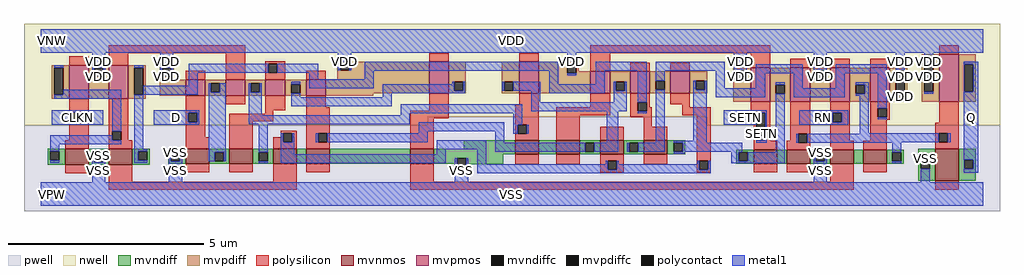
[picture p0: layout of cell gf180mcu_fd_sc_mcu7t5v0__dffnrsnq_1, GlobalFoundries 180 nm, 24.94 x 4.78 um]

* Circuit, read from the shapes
.subckt gf180mcu_fd_sc_mcu7t5v0__dffnrsnq_1 D RN SETN CLKN Q VDD VNW VPW VSS
XM1 VSS CLKN n1 VPW nfet_06v0 w=0.405u l=0.6u
XM2 n2 n1 VSS VPW nfet_06v0 w=0.405u l=0.6u
XM3 n3 D VSS VPW nfet_06v0 w=0.38u l=0.6u
XM4 n4 n2 n3 VPW nfet_06v0 w=0.38u l=0.6u
XM5 n5 n1 n4 VPW nfet_06v0 w=0.38u l=0.6u
XM6 n6 n7 n5 VPW nfet_06v0 w=0.38u l=0.6u
XM7 VSS RN n6 VPW nfet_06v0 w=0.38u l=0.6u
XM8 n8 n4 VSS VPW nfet_06v0 w=0.36u l=0.6u
XM9 n7 SETN n8 VPW nfet_06v0 w=0.36u l=0.6u
XM10 n9 n1 n7 VPW nfet_06v0 w=0.36u l=0.6u
XM11 n10 n2 n9 VPW nfet_06v0 w=0.36u l=0.6u
XM12 n11 SETN n10 VPW nfet_06v0 w=0.36u l=0.6u
XM13 VSS n12 n11 VPW nfet_06v0 w=0.36u l=0.6u
XM14 n13 RN VSS VPW nfet_06v0 w=0.36u l=0.6u
XM15 n12 n9 n13 VPW nfet_06v0 w=0.36u l=0.6u
XM16 Q n12 VSS VPW nfet_06v0 w=0.815u l=0.6u
XM17 VDD CLKN n1 VNW pfet_06v0 w=0.865u l=0.5u
XM18 n2 n1 VDD VNW pfet_06v0 w=0.865u l=0.5u
XM19 n3 D VDD VNW pfet_06v0 w=0.41u l=0.5u
XM20 n4 n1 n3 VNW pfet_06v0 w=0.41u l=0.5u
XM21 n14 n2 n4 VNW pfet_06v0 w=0.41u l=0.5u
XM22 VDD n7 n14 VNW pfet_06v0 w=0.41u l=0.5u
XM23 n14 RN VDD VNW pfet_06v0 w=0.805u l=0.5u
XM24 VDD n4 n7 VNW pfet_06v0 w=0.805u l=0.5u
XM25 n7 SETN VDD VNW pfet_06v0 w=0.56u l=0.5u
XM26 n9 n2 n7 VNW pfet_06v0 w=0.56u l=0.5u
XM27 n10 n1 n9 VNW pfet_06v0 w=0.56u l=0.5u
XM28 n10 SETN VDD VNW pfet_06v0 w=0.875u l=0.5u
XM29 VDD n12 n10 VNW pfet_06v0 w=0.875u l=0.5u
XM30 n12 RN VDD VNW pfet_06v0 w=0.875u l=0.5u
XM31 VDD n9 n12 VNW pfet_06v0 w=0.875u l=0.5u
XM32 Q n12 VDD VNW pfet_06v0 w=1.22u l=0.5u
.ends

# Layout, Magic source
magic
tech gf180mcuD
magscale 1 10
<< nwell >>
rect -86 396 4902 870
rect -86 352 1977 396
rect 3404 352 4902 396
<< pwell >>
rect 1977 352 3404 396
rect -86 -86 4902 352
<< mvnmos >>
rect 124 151 244 232
rect 348 151 468 232
rect 740 156 860 232
rect 964 156 1084 232
rect 1188 156 1308 232
rect 1356 156 1476 232
rect 1888 156 2008 232
rect 2424 204 2544 276
rect 2634 204 2754 276
rect 2858 204 2978 276
rect 3082 204 3202 276
rect 3643 156 3763 228
rect 3811 156 3931 228
rect 4035 156 4155 228
rect 4203 156 4323 228
rect 4571 69 4691 232
<< mvpmos >>
rect 144 487 244 660
rect 348 487 448 660
rect 740 504 840 586
rect 944 504 1044 586
rect 1148 504 1248 586
rect 1356 504 1456 586
rect 1984 516 2084 677
rect 2444 516 2544 677
rect 2809 516 2909 628
rect 3013 516 3113 628
rect 3217 516 3317 628
rect 3627 472 3727 647
rect 3831 472 3931 647
rect 4035 472 4135 647
rect 4239 472 4339 647
rect 4591 472 4691 716
<< mvndiff >>
rect 2161 232 2424 276
rect 36 219 124 232
rect 36 173 49 219
rect 95 173 124 219
rect 36 151 124 173
rect 244 210 348 232
rect 244 164 273 210
rect 319 164 348 210
rect 244 151 348 164
rect 468 219 556 232
rect 468 173 497 219
rect 543 173 556 219
rect 468 151 556 173
rect 652 215 740 232
rect 652 169 665 215
rect 711 169 740 215
rect 652 156 740 169
rect 860 215 964 232
rect 860 169 889 215
rect 935 169 964 215
rect 860 156 964 169
rect 1084 215 1188 232
rect 1084 169 1113 215
rect 1159 169 1188 215
rect 1084 156 1188 169
rect 1308 156 1356 232
rect 1476 156 1888 232
rect 2008 204 2424 232
rect 2544 204 2634 276
rect 2754 263 2858 276
rect 2754 217 2783 263
rect 2829 217 2858 263
rect 2754 204 2858 217
rect 2978 263 3082 276
rect 2978 217 3007 263
rect 3053 217 3082 263
rect 2978 204 3082 217
rect 3202 263 3293 276
rect 3202 217 3234 263
rect 3280 217 3293 263
rect 3202 204 3293 217
rect 2008 183 2364 204
rect 2008 156 2127 183
rect 2114 137 2127 156
rect 2173 152 2364 183
rect 2173 137 2186 152
rect 2114 124 2186 137
rect 3555 215 3643 228
rect 3555 169 3568 215
rect 3614 169 3643 215
rect 3555 156 3643 169
rect 3763 156 3811 228
rect 3931 215 4035 228
rect 3931 169 3960 215
rect 4006 169 4035 215
rect 3931 156 4035 169
rect 4155 156 4203 228
rect 4323 215 4411 228
rect 4323 169 4352 215
rect 4398 169 4411 215
rect 4323 156 4411 169
rect 4483 175 4571 232
rect 4483 129 4496 175
rect 4542 129 4571 175
rect 4483 69 4571 129
rect 4691 175 4779 232
rect 4691 129 4720 175
rect 4766 129 4779 175
rect 4691 69 4779 129
<< mvpdiff >>
rect 56 647 144 660
rect 56 507 69 647
rect 115 507 144 647
rect 56 487 144 507
rect 244 647 348 660
rect 244 601 273 647
rect 319 601 348 647
rect 244 487 348 601
rect 448 647 536 660
rect 448 507 477 647
rect 523 507 536 647
rect 448 487 536 507
rect 608 646 680 659
rect 608 600 621 646
rect 667 600 680 646
rect 608 586 680 600
rect 1516 679 1588 692
rect 1516 633 1529 679
rect 1575 677 1588 679
rect 1575 633 1984 677
rect 1516 586 1984 633
rect 608 504 740 586
rect 840 566 944 586
rect 840 520 869 566
rect 915 520 944 566
rect 840 504 944 520
rect 1044 566 1148 586
rect 1044 520 1073 566
rect 1119 520 1148 566
rect 1044 504 1148 520
rect 1248 563 1356 586
rect 1248 517 1281 563
rect 1327 517 1356 563
rect 1248 504 1356 517
rect 1456 516 1984 586
rect 2084 575 2172 677
rect 2084 529 2113 575
rect 2159 529 2172 575
rect 2084 516 2172 529
rect 2356 575 2444 677
rect 2356 529 2369 575
rect 2415 529 2444 575
rect 2356 516 2444 529
rect 2544 664 2749 677
rect 2544 618 2690 664
rect 2736 628 2749 664
rect 4503 664 4591 716
rect 3539 634 3627 647
rect 2736 618 2809 628
rect 2544 516 2809 618
rect 2909 575 3013 628
rect 2909 529 2938 575
rect 2984 529 3013 575
rect 2909 516 3013 529
rect 3113 579 3217 628
rect 3113 533 3142 579
rect 3188 533 3217 579
rect 3113 516 3217 533
rect 3317 579 3405 628
rect 3317 533 3346 579
rect 3392 533 3405 579
rect 3317 516 3405 533
rect 3539 588 3552 634
rect 3598 588 3627 634
rect 1456 504 1700 516
rect 3539 472 3627 588
rect 3727 560 3831 647
rect 3727 514 3756 560
rect 3802 514 3831 560
rect 3727 472 3831 514
rect 3931 634 4035 647
rect 3931 588 3960 634
rect 4006 588 4035 634
rect 3931 472 4035 588
rect 4135 560 4239 647
rect 4135 514 4164 560
rect 4210 514 4239 560
rect 4135 472 4239 514
rect 4339 634 4427 647
rect 4339 494 4368 634
rect 4414 494 4427 634
rect 4339 472 4427 494
rect 4503 524 4516 664
rect 4562 524 4591 664
rect 4503 472 4591 524
rect 4691 664 4779 716
rect 4691 524 4720 664
rect 4766 524 4779 664
rect 4691 472 4779 524
<< mvndiffc >>
rect 49 173 95 219
rect 273 164 319 210
rect 497 173 543 219
rect 665 169 711 215
rect 889 169 935 215
rect 1113 169 1159 215
rect 2783 217 2829 263
rect 3007 217 3053 263
rect 3234 217 3280 263
rect 2127 137 2173 183
rect 3568 169 3614 215
rect 3960 169 4006 215
rect 4352 169 4398 215
rect 4496 129 4542 175
rect 4720 129 4766 175
<< mvpdiffc >>
rect 69 507 115 647
rect 273 601 319 647
rect 477 507 523 647
rect 621 600 667 646
rect 1529 633 1575 679
rect 869 520 915 566
rect 1073 520 1119 566
rect 1281 517 1327 563
rect 2113 529 2159 575
rect 2369 529 2415 575
rect 2690 618 2736 664
rect 2938 529 2984 575
rect 3142 533 3188 579
rect 3346 533 3392 579
rect 3552 588 3598 634
rect 3756 514 3802 560
rect 3960 588 4006 634
rect 4164 514 4210 560
rect 4368 494 4414 634
rect 4516 524 4562 664
rect 4720 524 4766 664
<< polysilicon >>
rect 348 720 1044 760
rect 144 660 244 704
rect 348 660 448 720
rect 740 586 840 630
rect 944 586 1044 720
rect 1148 667 1248 680
rect 1148 621 1161 667
rect 1207 621 1248 667
rect 1984 677 2084 721
rect 2444 677 2544 721
rect 2809 720 3727 760
rect 1148 586 1248 621
rect 1356 586 1456 630
rect 2809 628 2909 720
rect 3013 628 3113 672
rect 3217 628 3317 672
rect 3627 647 3727 720
rect 4591 716 4691 760
rect 3831 647 3931 691
rect 4035 647 4135 691
rect 4239 647 4339 691
rect 144 418 244 487
rect 144 372 157 418
rect 203 372 244 418
rect 144 276 244 372
rect 124 232 244 276
rect 348 323 448 487
rect 348 277 365 323
rect 411 277 448 323
rect 348 276 448 277
rect 740 415 840 504
rect 944 460 1044 504
rect 740 369 753 415
rect 799 369 840 415
rect 1148 428 1248 504
rect 1356 444 1456 504
rect 1148 412 1188 428
rect 740 292 840 369
rect 964 372 1188 412
rect 348 232 468 276
rect 740 232 860 292
rect 964 232 1084 372
rect 1225 311 1308 324
rect 1225 292 1238 311
rect 1188 265 1238 292
rect 1284 265 1308 311
rect 1188 232 1308 265
rect 1356 311 1476 444
rect 1984 427 2084 516
rect 2444 456 2544 516
rect 1356 265 1417 311
rect 1463 265 1476 311
rect 1356 232 1476 265
rect 1888 387 2084 427
rect 1888 232 2008 387
rect 2424 355 2544 456
rect 2809 444 2909 516
rect 2424 309 2437 355
rect 2483 309 2544 355
rect 2424 276 2544 309
rect 2634 404 2909 444
rect 3013 471 3113 516
rect 3013 425 3050 471
rect 3096 444 3113 471
rect 3217 460 3317 516
rect 3277 444 3317 460
rect 3096 425 3122 444
rect 2634 276 2754 404
rect 3013 392 3122 425
rect 3277 404 3425 444
rect 3627 418 3727 472
rect 3082 344 3122 392
rect 2858 276 2978 344
rect 3082 276 3202 344
rect 124 107 244 151
rect 348 64 468 151
rect 740 112 860 156
rect 964 112 1084 156
rect 1188 64 1308 156
rect 1356 112 1476 156
rect 348 24 1308 64
rect 1888 64 2008 156
rect 2424 152 2544 204
rect 2634 152 2754 204
rect 2858 171 2978 204
rect 2858 125 2897 171
rect 2943 125 2978 171
rect 3082 152 3202 204
rect 3353 171 3425 404
rect 3643 415 3727 418
rect 3643 275 3656 415
rect 3702 275 3727 415
rect 3643 272 3727 275
rect 3831 308 3931 472
rect 3831 272 3872 308
rect 3643 228 3763 272
rect 3811 262 3872 272
rect 3918 262 3931 308
rect 3811 228 3931 262
rect 4035 415 4135 472
rect 4035 369 4048 415
rect 4094 369 4135 415
rect 4035 272 4135 369
rect 4239 439 4339 472
rect 4239 393 4276 439
rect 4322 393 4339 439
rect 4239 380 4339 393
rect 4239 272 4323 380
rect 4591 365 4691 472
rect 4035 228 4155 272
rect 4203 228 4323 272
rect 4571 312 4691 365
rect 4571 266 4590 312
rect 4636 266 4691 312
rect 4571 232 4691 266
rect 2858 112 2978 125
rect 3353 125 3366 171
rect 3412 125 3425 171
rect 3353 112 3425 125
rect 3643 112 3763 156
rect 3811 112 3931 156
rect 4035 64 4155 156
rect 4203 112 4323 156
rect 1888 24 4155 64
rect 4571 24 4691 69
<< polycontact >>
rect 1161 621 1207 667
rect 157 372 203 418
rect 365 277 411 323
rect 753 369 799 415
rect 1238 265 1284 311
rect 1417 265 1463 311
rect 2437 309 2483 355
rect 3050 425 3096 471
rect 2897 125 2943 171
rect 3656 275 3702 415
rect 3872 262 3918 308
rect 4048 369 4094 415
rect 4276 393 4322 439
rect 4590 266 4636 312
rect 3366 125 3412 171
<< metal1 >>
rect 0 724 4816 844
rect 69 647 115 660
rect 262 647 330 724
rect 262 601 273 647
rect 319 601 330 647
rect 477 647 523 660
rect 115 507 411 534
rect 69 487 411 507
rect 56 418 318 430
rect 56 372 157 418
rect 203 372 318 418
rect 56 354 318 372
rect 365 323 411 487
rect 49 277 365 302
rect 49 256 411 277
rect 610 646 678 724
rect 1517 679 1586 724
rect 610 600 621 646
rect 667 600 678 646
rect 757 621 1161 667
rect 1207 621 1419 667
rect 1517 633 1529 679
rect 1575 633 1586 679
rect 757 554 803 621
rect 1373 587 1419 621
rect 1656 632 2644 678
rect 1656 587 1702 632
rect 523 508 803 554
rect 858 520 869 566
rect 915 520 946 566
rect 49 219 95 256
rect 477 230 523 507
rect 578 415 810 430
rect 578 369 753 415
rect 799 369 810 415
rect 578 354 810 369
rect 477 219 543 230
rect 49 162 95 173
rect 262 164 273 210
rect 319 164 330 210
rect 262 60 330 164
rect 477 173 497 219
rect 858 215 946 520
rect 1062 520 1073 566
rect 1119 520 1130 566
rect 1062 403 1130 520
rect 1281 563 1327 574
rect 1373 541 1702 587
rect 2102 563 2113 575
rect 1281 495 1327 517
rect 1748 529 2113 563
rect 2159 529 2170 575
rect 2358 529 2369 575
rect 2415 529 2552 575
rect 1748 517 2170 529
rect 1748 495 1794 517
rect 1281 449 1794 495
rect 2506 469 2552 529
rect 2598 561 2644 632
rect 2690 664 2736 724
rect 2690 607 2736 618
rect 2835 632 3096 678
rect 2835 561 2881 632
rect 2598 515 2881 561
rect 2927 529 2938 575
rect 2984 529 2995 575
rect 2927 469 2995 529
rect 1840 414 2460 460
rect 2506 425 2995 469
rect 3050 471 3096 632
rect 2506 423 2950 425
rect 1840 403 1886 414
rect 1062 357 1886 403
rect 477 162 543 173
rect 654 169 665 215
rect 711 169 722 215
rect 858 169 889 215
rect 935 169 946 215
rect 1113 215 1159 357
rect 1932 321 2368 367
rect 1932 311 1978 321
rect 654 60 722 169
rect 1113 158 1159 169
rect 1227 265 1238 311
rect 1284 265 1295 311
rect 1406 265 1417 311
rect 1463 265 1978 311
rect 1227 204 1295 265
rect 2024 229 2276 275
rect 2024 204 2070 229
rect 1227 158 2070 204
rect 2116 137 2127 183
rect 2173 137 2184 183
rect 2116 60 2184 137
rect 2230 152 2276 229
rect 2322 263 2368 321
rect 2414 355 2460 414
rect 2414 309 2437 355
rect 2483 309 2494 355
rect 2893 263 2950 423
rect 3050 414 3096 425
rect 3142 632 3495 678
rect 3142 579 3188 632
rect 3142 263 3188 533
rect 3335 533 3346 579
rect 3392 533 3403 579
rect 3335 274 3403 533
rect 3449 542 3495 632
rect 3541 634 3609 724
rect 3541 588 3552 634
rect 3598 588 3609 634
rect 3655 617 3894 664
rect 3655 542 3701 617
rect 3449 495 3701 542
rect 3756 560 3802 571
rect 3490 415 3710 430
rect 3490 354 3656 415
rect 2322 217 2783 263
rect 2829 217 2950 263
rect 2996 217 3007 263
rect 3053 217 3188 263
rect 3234 263 3403 274
rect 3702 275 3710 415
rect 3656 264 3710 275
rect 3280 217 3585 263
rect 3234 206 3291 217
rect 3528 215 3585 217
rect 3756 215 3802 514
rect 3848 542 3894 617
rect 3949 634 4017 724
rect 3949 588 3960 634
rect 4006 588 4017 634
rect 4063 617 4322 664
rect 4063 542 4109 617
rect 3848 496 4109 542
rect 4164 560 4230 571
rect 4210 514 4230 560
rect 4164 503 4230 514
rect 3876 415 4126 430
rect 3876 369 4048 415
rect 4094 369 4126 415
rect 3876 354 4126 369
rect 4184 312 4230 503
rect 4276 439 4322 617
rect 4368 634 4414 724
rect 4516 664 4562 724
rect 4516 513 4562 524
rect 4717 664 4792 676
rect 4717 524 4720 664
rect 4766 524 4792 664
rect 4368 483 4414 494
rect 4276 382 4322 393
rect 4184 308 4590 312
rect 3861 262 3872 308
rect 3918 266 4590 308
rect 4636 266 4650 312
rect 3918 262 4398 266
rect 4352 215 4398 262
rect 2886 152 2897 171
rect 2230 125 2897 152
rect 2943 152 2954 171
rect 3355 152 3366 171
rect 2943 125 3366 152
rect 3412 125 3423 171
rect 3528 169 3568 215
rect 3614 169 3802 215
rect 3528 158 3802 169
rect 3949 169 3960 215
rect 4006 169 4017 215
rect 2230 106 3423 125
rect 3949 60 4017 169
rect 4352 158 4398 169
rect 4496 175 4542 186
rect 4496 60 4542 129
rect 4717 175 4792 524
rect 4717 129 4720 175
rect 4766 129 4792 175
rect 4717 110 4792 129
rect 0 -60 4816 60
<< labels >>
flabel metal1 s 578 354 810 430 0 FreeSans 600 0 0 0 D
port 1 nsew default input
flabel metal1 s 0 724 4816 844 0 FreeSans 600 0 0 0 VDD
port 6 nsew power bidirectional abutment
flabel metal1 s 3949 210 4017 215 0 FreeSans 600 0 0 0 VSS
port 9 nsew ground bidirectional abutment
flabel metal1 s 56 354 318 430 0 FreeSans 600 0 0 0 CLKN
port 4 nsew clock input
flabel metal1 s 3490 354 3710 430 0 FreeSans 600 0 0 0 SETN
port 3 nsew default input
flabel metal1 s 3876 354 4126 430 0 FreeSans 600 0 0 0 RN
port 2 nsew default input
flabel metal1 s 4717 110 4792 676 0 FreeSans 600 0 0 0 Q
port 5 nsew default output
flabel nwell s 10 734 110 834 0 FreeSans 400 0 0 0 VNW
port 7 nsew power bidirectional
flabel pwell s 10 -50 110 50 0 FreeSans 400 0 0 0 VPW
port 8 nsew ground bidirectional
rlabel metal1 s 3656 264 3710 354 1 SETN
port 3 nsew default input
rlabel metal1 s 4516 633 4562 724 1 VDD
port 6 nsew power bidirectional abutment
rlabel metal1 s 4368 633 4414 724 1 VDD
port 6 nsew power bidirectional abutment
rlabel metal1 s 3949 633 4017 724 1 VDD
port 6 nsew power bidirectional abutment
rlabel metal1 s 3541 633 3609 724 1 VDD
port 6 nsew power bidirectional abutment
rlabel metal1 s 2690 633 2736 724 1 VDD
port 6 nsew power bidirectional abutment
rlabel metal1 s 1517 633 1586 724 1 VDD
port 6 nsew power bidirectional abutment
rlabel metal1 s 610 633 678 724 1 VDD
port 6 nsew power bidirectional abutment
rlabel metal1 s 262 633 330 724 1 VDD
port 6 nsew power bidirectional abutment
rlabel metal1 s 4516 607 4562 633 1 VDD
port 6 nsew power bidirectional abutment
rlabel metal1 s 4368 607 4414 633 1 VDD
port 6 nsew power bidirectional abutment
rlabel metal1 s 3949 607 4017 633 1 VDD
port 6 nsew power bidirectional abutment
rlabel metal1 s 3541 607 3609 633 1 VDD
port 6 nsew power bidirectional abutment
rlabel metal1 s 2690 607 2736 633 1 VDD
port 6 nsew power bidirectional abutment
rlabel metal1 s 610 607 678 633 1 VDD
port 6 nsew power bidirectional abutment
rlabel metal1 s 262 607 330 633 1 VDD
port 6 nsew power bidirectional abutment
rlabel metal1 s 4516 601 4562 607 1 VDD
port 6 nsew power bidirectional abutment
rlabel metal1 s 4368 601 4414 607 1 VDD
port 6 nsew power bidirectional abutment
rlabel metal1 s 3949 601 4017 607 1 VDD
port 6 nsew power bidirectional abutment
rlabel metal1 s 3541 601 3609 607 1 VDD
port 6 nsew power bidirectional abutment
rlabel metal1 s 610 601 678 607 1 VDD
port 6 nsew power bidirectional abutment
rlabel metal1 s 262 601 330 607 1 VDD
port 6 nsew power bidirectional abutment
rlabel metal1 s 4516 600 4562 601 1 VDD
port 6 nsew power bidirectional abutment
rlabel metal1 s 4368 600 4414 601 1 VDD
port 6 nsew power bidirectional abutment
rlabel metal1 s 3949 600 4017 601 1 VDD
port 6 nsew power bidirectional abutment
rlabel metal1 s 3541 600 3609 601 1 VDD
port 6 nsew power bidirectional abutment
rlabel metal1 s 610 600 678 601 1 VDD
port 6 nsew power bidirectional abutment
rlabel metal1 s 4516 588 4562 600 1 VDD
port 6 nsew power bidirectional abutment
rlabel metal1 s 4368 588 4414 600 1 VDD
port 6 nsew power bidirectional abutment
rlabel metal1 s 3949 588 4017 600 1 VDD
port 6 nsew power bidirectional abutment
rlabel metal1 s 3541 588 3609 600 1 VDD
port 6 nsew power bidirectional abutment
rlabel metal1 s 4516 513 4562 588 1 VDD
port 6 nsew power bidirectional abutment
rlabel metal1 s 4368 513 4414 588 1 VDD
port 6 nsew power bidirectional abutment
rlabel metal1 s 4368 483 4414 513 1 VDD
port 6 nsew power bidirectional abutment
rlabel metal1 s 654 210 722 215 1 VSS
port 9 nsew ground bidirectional abutment
rlabel metal1 s 3949 186 4017 210 1 VSS
port 9 nsew ground bidirectional abutment
rlabel metal1 s 654 186 722 210 1 VSS
port 9 nsew ground bidirectional abutment
rlabel metal1 s 262 186 330 210 1 VSS
port 9 nsew ground bidirectional abutment
rlabel metal1 s 4496 183 4542 186 1 VSS
port 9 nsew ground bidirectional abutment
rlabel metal1 s 3949 183 4017 186 1 VSS
port 9 nsew ground bidirectional abutment
rlabel metal1 s 654 183 722 186 1 VSS
port 9 nsew ground bidirectional abutment
rlabel metal1 s 262 183 330 186 1 VSS
port 9 nsew ground bidirectional abutment
rlabel metal1 s 4496 60 4542 183 1 VSS
port 9 nsew ground bidirectional abutment
rlabel metal1 s 3949 60 4017 183 1 VSS
port 9 nsew ground bidirectional abutment
rlabel metal1 s 2116 60 2184 183 1 VSS
port 9 nsew ground bidirectional abutment
rlabel metal1 s 654 60 722 183 1 VSS
port 9 nsew ground bidirectional abutment
rlabel metal1 s 262 60 330 183 1 VSS
port 9 nsew ground bidirectional abutment
rlabel metal1 s 0 -60 4816 60 1 VSS
port 9 nsew ground bidirectional abutment
<< properties >>
string FIXED_BBOX 0 0 4816 784
string GDS_END 919256
string GDS_FILE $PDKPATH/libs.ref/gf180mcu_fd_sc_mcu7t5v0/gds/gf180mcu_fd_sc_mcu7t5v0.gds
string GDS_START 909350
string LEFclass core
string LEFsite GF018hv5v_mcu_sc7
string LEFsymmetry X Y
<< end >>
